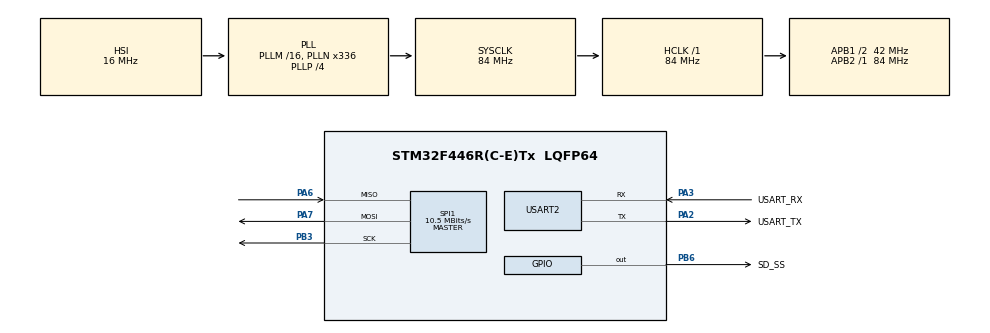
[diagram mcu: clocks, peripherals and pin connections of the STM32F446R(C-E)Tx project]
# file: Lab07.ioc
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FATFS._MAX_SS=4096
FATFS._USE_LFN=1
Mcu.Family=STM32F4
Mcu.Name=STM32F446R(C-E)Tx
Mcu.Package=LQFP64
NVIC.PriorityGroup=NVIC_PRIORITYGROUP_0
NVIC.USART2_IRQn=true\:0\:0\:false\:false\:true\:true\:true\:true
PA13.GPIO_Label=TMS
PA13.Mode=Serial_Wire
PA13.Signal=SYS_JTMS-SWDIO
PA14.GPIO_Label=TCK
PA14.Mode=Serial_Wire
PA14.Signal=SYS_JTCK-SWCLK
PA2.GPIO_Label=USART_TX
PA2.Mode=Asynchronous
PA2.Signal=USART2_TX
PA3.GPIO_Label=USART_RX
PA3.Mode=Asynchronous
PA3.Signal=USART2_RX
PA6.Mode=Full_Duplex_Master
PA6.Signal=SPI1_MISO
PA7.Mode=Full_Duplex_Master
PA7.Signal=SPI1_MOSI
PB3.Mode=Full_Duplex_Master
PB3.Signal=SPI1_SCK
PB6.GPIO_Label=SD_SS
PB6.GPIO_Speed=GPIO_SPEED_FREQ_MEDIUM
PB6.PinState=GPIO_PIN_SET
PB6.Signal=GPIO_Output
PH0-OSC_IN.Mode=HSE-External-Oscillator
PH0-OSC_IN.Signal=RCC_OSC_IN
PH1-OSC_OUT.Mode=HSE-External-Oscillator
PH1-OSC_OUT.Signal=RCC_OSC_OUT
ProjectManager.HeapSize=0x200
ProjectManager.StackSize=0x400
ProjectManager.TargetToolchain=STM32CubeIDE
RCC.48MHZClocksFreq_Value=84000000
RCC.AHBFreq_Value=84000000
RCC.APB1CLKDivider=RCC_HCLK_DIV2
RCC.APB1Freq_Value=42000000
RCC.APB1TimFreq_Value=84000000
RCC.APB2Freq_Value=84000000
RCC.APB2TimFreq_Value=84000000
RCC.CortexFreq_Value=84000000
RCC.FLatency-AdvancedSettings=FLASH_LATENCY_2
RCC.HCLKFreq_Value=84000000
RCC.HSE_VALUE=8000000
RCC.HSI_VALUE=16000000
RCC.PLLN=336
RCC.PLLP=RCC_PLLP_DIV4
RCC.SYSCLKFreq_VALUE=84000000
RCC.SYSCLKSource=RCC_SYSCLKSOURCE_PLLCLK
RCC.USBFreq_Value=168000000
RCC.VCOOutputFreq_Value=336000000
SPI1.BaudRatePrescaler=SPI_BAUDRATEPRESCALER_8
SPI1.CalculateBaudRate=10.5 MBits/s
SPI1.Direction=SPI_DIRECTION_2LINES
SPI1.Mode=SPI_MODE_MASTER
SPI1.VirtualType=VM_MASTER
USART2.VirtualMode=VM_ASYNC
VP_FATFS_VS_Generic.Mode=User_defined
board=NUCLEO-F446RE

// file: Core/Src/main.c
/* USER CODE BEGIN Header */
/**
  ******************************************************************************
  * @file           : main.c
  * @brief          : Main program body
  ******************************************************************************
  * @attention
  *
  * Copyright (c) 2024 STMicroelectronics.
  * All rights reserved.
  *
  * This software is licensed under terms that can be found in the LICENSE file
  * in the root directory of this software component.
  * If no LICENSE file comes with this software, it is provided AS-IS.
  *
  ******************************************************************************
  */
/* USER CODE END Header */
#include "main.h"
#include "fatfs.h"

/* USER CODE BEGIN Includes */
#include "stm32f4xx_hal.h"
#include "fatfs_sd.h"
#include "string.h"
#include "stdio.h"
/* USER CODE END Includes */

/* USER CODE BEGIN PD */
SPI_HandleTypeDef hspi1;
FATFS fs;
FATFS *pfs;
FIL fil;
FRESULT fres;
DWORD fre_clust;
uint32_t totalSpace, freeSpace;
char buffer[100];
uint8_t buffer2[1];
uint8_t Mensaje1[] = "Que desea realizar\r\n";
#define BUFFER_SIZE 128  // Tamaño del buffer para leer los nombres de archivos

/* USER CODE END PD */

SPI_HandleTypeDef hspi1;

UART_HandleTypeDef huart2;

/* USER CODE BEGIN PV */

int file_count = 0;

/* USER CODE END PV */

void SystemClock_Config(void);
static void MX_GPIO_Init(void);
static void MX_USART2_UART_Init(void);
static void MX_SPI1_Init(void);

int main(void)
{

  /* MCU Configuration--------------------------------------------------------*/

  /* Reset of all peripherals, Initializes the Flash interface and the Systick. */
  HAL_Init();

  /* USER CODE BEGIN Init */
  void transmit_uart(char *string){
	  uint8_t len = strlen(string);
	  HAL_UART_Transmit(&huart2, (uint8_t*)string, len, 200);
  }
  void ReadFile(const char *filename) {
        FIL fil;          // Estructura para el archivo
        FATFS fs;         // Estructura para el sistema de archivos
        FRESULT fres;     // Resultado de las operaciones FatFS
        UINT bytesRead;   // Número de bytes leídos
        char buffer[BUFFER_SIZE];  // Buffer para almacenar los datos leídos

        // 1. Montar la SD
        fres = f_mount(&fs, "", 0);
        if (fres == FR_OK) {
            transmit_uart("Micro SD card is mounted successfully!\n");
        } else {
            transmit_uart("Micro SD card mount error!\n");
            return;  // Si no se puede montar la SD, salir de la función
        }

        // 2. Abrir el archivo pasado como parámetro
        fres = f_open(&fil, filename, FA_READ);
        if (fres == FR_OK) {
            transmit_uart("File opened for reading.\n");
        } else {
            transmit_uart("File was not opened for reading!\n");
            f_mount(NULL, "", 0);  // Desmontar la SD antes de salir
            return;
        }

        // 3. Leer el archivo y enviar el contenido por UART
        do {
            fres = f_read(&fil, buffer, sizeof(buffer) - 1, &bytesRead);
            if (fres == FR_OK) {
                buffer[bytesRead] = '\0';  // Terminar el buffer con null
                transmit_uart(buffer);     // Enviar el contenido por UART
            } else {
                transmit_uart("Error reading file.\n");
                break;
            }
        } while (bytesRead > 0);  // Continuar leyendo hasta que no haya más datos

        // 4. Cerrar el archivo
        fres = f_close(&fil);
        if (fres == FR_OK) {
            transmit_uart("The file is closed.\n");
        } else {
            transmit_uart("The file was not closed.\n");
        }

        // 5. Desmontar la SD
        fres = f_mount(NULL, "", 0);
        if (fres == FR_OK) {
            transmit_uart("SD card unmounted successfully!\n");
        } else {
            transmit_uart("SD card unmount error!\n");
        }
    }
  /* USER CODE END Init */

  /* Configure the system clock */
  SystemClock_Config();

  /* Initialize all configured peripherals */
  MX_GPIO_Init();
  MX_USART2_UART_Init();
  MX_SPI1_Init();
  MX_FATFS_Init();
  /* USER CODE BEGIN 2 */
  //HAL_UART_Receive_IT(&huart2, respuesta, 1);
  /*HAL_Delay(500);
  //Montar SD
  fres = f_mount(&fs, "/", 0);
  if(fres == FR_OK){
	  transmit_uart("Micro SD card is mounted successfully!\n");
  }
  else if (fres != FR_OK){
	  char error_msg[50];
	  sprintf(error_msg, "SD card mount error: %d\n", fres);
	  transmit_uart(error_msg);
  }
  */
/*
  // Abir Archivo

  fres = f_open(&fil, "/data/Prueba.txt", FA_READ);
  if(fres == FR_OK){
	  transmit_uart("File Opened For Reading.\n");
  }
  else if (fres != FR_OK){
	  //transmit_uart("File was not Opened For Reading.\n");
	  char error_msg[50];
	  sprintf(error_msg, "Error opening file: %d\n", fres);
	  transmit_uart(error_msg);
  }

  // Escribir en archivo
  for (uint8_t i = 0; i < 10; i++){
	  f_puts("Hola Mundo! \n", &fil);
  }

  // Abrir archivo para leer
  fres = f_open(&fil, "Prueba.txt", FA_READ);
    if(fres == FR_OK){
  	  transmit_uart("File Opened For Reading.\n");
    }
    else if (fres != FR_OK){
  	  transmit_uart("File Wasnt Opened For Reading.\n");
    }

  // Leer algun contenido

  while (f_gets(buffer, sizeof(buffer), &fil)) {
      char mRd[100];
      sprintf(mRd, "%s", buffer);
      transmit_uart(mRd);
  }

  // Cerrar archivo
      fres = f_close(&fil);
      if (fres == FR_OK) {
          transmit_uart("The file is closed.\n");
      } else if (fres != FR_OK) {
          transmit_uart("The file was not closed.\n");
      }

  // Desmontar unidad
      f_mount(NULL, "", 1);
      if(fres == FR_OK){
    	  transmit_uart("The MICRO SD card in unmounted.\n");
      }
      else if(fres != FR_OK){
    	  transmit_uart("The MICRO SD card was not unmounted.\n");
      }
      */
      transmit_uart("\n SELECCIONE LAS SIGUIENTES OPCIONES");
      transmit_uart("\n 1. Heart");
      transmit_uart("\n 2. Penguin");
      transmit_uart("\n 3. Creeper");

  /* USER CODE END 2 */

  /* Infinite loop */
  while (1)
  {
	  HAL_UART_Receive(&huart2, &buffer2, 1, 10000);
	  if (buffer2[0]=='1'){
		  	  ReadFile("ascii-Heart.txt");
			  transmit_uart("\n");
		  }
		  if (buffer2[0]=='2'){
			  ReadFile("ascii-penguin.txt");
			  transmit_uart("\n");
		  }
		  if (buffer2[0]=='3'){
			  ReadFile("ascii-creeper.txt");
			  transmit_uart("\n");
		  }
  }
}

void SystemClock_Config(void)
{
  RCC_OscInitTypeDef RCC_OscInitStruct = {0};
  RCC_ClkInitTypeDef RCC_ClkInitStruct = {0};

  /** Configure the main internal regulator output voltage
  */
  __HAL_RCC_PWR_CLK_ENABLE();
  __HAL_PWR_VOLTAGESCALING_CONFIG(PWR_REGULATOR_VOLTAGE_SCALE3);

  /** Initializes the RCC Oscillators according to the specified parameters
  * in the RCC_OscInitTypeDef structure.
  */
  RCC_OscInitStruct.OscillatorType = RCC_OSCILLATORTYPE_HSI;
  RCC_OscInitStruct.HSIState = RCC_HSI_ON;
  RCC_OscInitStruct.HSICalibrationValue = RCC_HSICALIBRATION_DEFAULT;
  RCC_OscInitStruct.PLL.PLLState = RCC_PLL_ON;
  RCC_OscInitStruct.PLL.PLLSource = RCC_PLLSOURCE_HSI;
  RCC_OscInitStruct.PLL.PLLM = 16;
  RCC_OscInitStruct.PLL.PLLN = 336;
  RCC_OscInitStruct.PLL.PLLP = RCC_PLLP_DIV4;
  RCC_OscInitStruct.PLL.PLLQ = 2;
  RCC_OscInitStruct.PLL.PLLR = 2;
  if (HAL_RCC_OscConfig(&RCC_OscInitStruct) != HAL_OK)
  {
    Error_Handler();
  }

  /** Initializes the CPU, AHB and APB buses clocks
  */
  RCC_ClkInitStruct.ClockType = RCC_CLOCKTYPE_HCLK|RCC_CLOCKTYPE_SYSCLK
                              |RCC_CLOCKTYPE_PCLK1|RCC_CLOCKTYPE_PCLK2;
  RCC_ClkInitStruct.SYSCLKSource = RCC_SYSCLKSOURCE_PLLCLK;
  RCC_ClkInitStruct.AHBCLKDivider = RCC_SYSCLK_DIV1;
  RCC_ClkInitStruct.APB1CLKDivider = RCC_HCLK_DIV2;
  RCC_ClkInitStruct.APB2CLKDivider = RCC_HCLK_DIV1;

  if (HAL_RCC_ClockConfig(&RCC_ClkInitStruct, FLASH_LATENCY_2) != HAL_OK)
  {
    Error_Handler();
  }
}

static void MX_SPI1_Init(void)
{

  /* SPI1 parameter configuration*/
  hspi1.Instance = SPI1;
  hspi1.Init.Mode = SPI_MODE_MASTER;
  hspi1.Init.Direction = SPI_DIRECTION_2LINES;
  hspi1.Init.DataSize = SPI_DATASIZE_8BIT;
  hspi1.Init.CLKPolarity = SPI_POLARITY_LOW;
  hspi1.Init.CLKPhase = SPI_PHASE_1EDGE;
  hspi1.Init.NSS = SPI_NSS_SOFT;
  hspi1.Init.BaudRatePrescaler = SPI_BAUDRATEPRESCALER_8;
  hspi1.Init.FirstBit = SPI_FIRSTBIT_MSB;
  hspi1.Init.TIMode = SPI_TIMODE_DISABLE;
  hspi1.Init.CRCCalculation = SPI_CRCCALCULATION_DISABLE;
  hspi1.Init.CRCPolynomial = 10;
  if (HAL_SPI_Init(&hspi1) != HAL_OK)
  {
    Error_Handler();
  }

}

static void MX_USART2_UART_Init(void)
{

  huart2.Instance = USART2;
  huart2.Init.BaudRate = 115200;
  huart2.Init.WordLength = UART_WORDLENGTH_8B;
  huart2.Init.StopBits = UART_STOPBITS_1;
  huart2.Init.Parity = UART_PARITY_NONE;
  huart2.Init.Mode = UART_MODE_TX_RX;
  huart2.Init.HwFlowCtl = UART_HWCONTROL_NONE;
  huart2.Init.OverSampling = UART_OVERSAMPLING_16;
  if (HAL_UART_Init(&huart2) != HAL_OK)
  {
    Error_Handler();
  }

}

static void MX_GPIO_Init(void)
{
  GPIO_InitTypeDef GPIO_InitStruct = {0};

  /* GPIO Ports Clock Enable */
  __HAL_RCC_GPIOH_CLK_ENABLE();
  __HAL_RCC_GPIOA_CLK_ENABLE();
  __HAL_RCC_GPIOB_CLK_ENABLE();

  /*Configure GPIO pin Output Level */
  HAL_GPIO_WritePin(SD_SS_GPIO_Port, SD_SS_Pin, GPIO_PIN_SET);

  /*Configure GPIO pin : SD_SS_Pin */
  GPIO_InitStruct.Pin = SD_SS_Pin;
  GPIO_InitStruct.Mode = GPIO_MODE_OUTPUT_PP;
  GPIO_InitStruct.Pull = GPIO_NOPULL;
  GPIO_InitStruct.Speed = GPIO_SPEED_FREQ_MEDIUM;
  HAL_GPIO_Init(SD_SS_GPIO_Port, &GPIO_InitStruct);

}

/* USER CODE BEGIN 4 */
/*
void HAL_UART_RxCpltCallback(UART_HandleTypeDef *huart)
{
	// Procesa el dato recibido por USART1
	if(buffer2[0] == '1'){
		HAL_UART_Transmit(&huart2, Mensaje1, sizeof(Mensaje1), 1000);
	}
	// Vuelve a activar la recepción por interrupción
	HAL_UART_Receive_IT(&huart2, buffer2, 1);

}*/

/* USER CODE END 4 */

void Error_Handler(void)
{
  __disable_irq();
  while (1)
  {
  }
}
